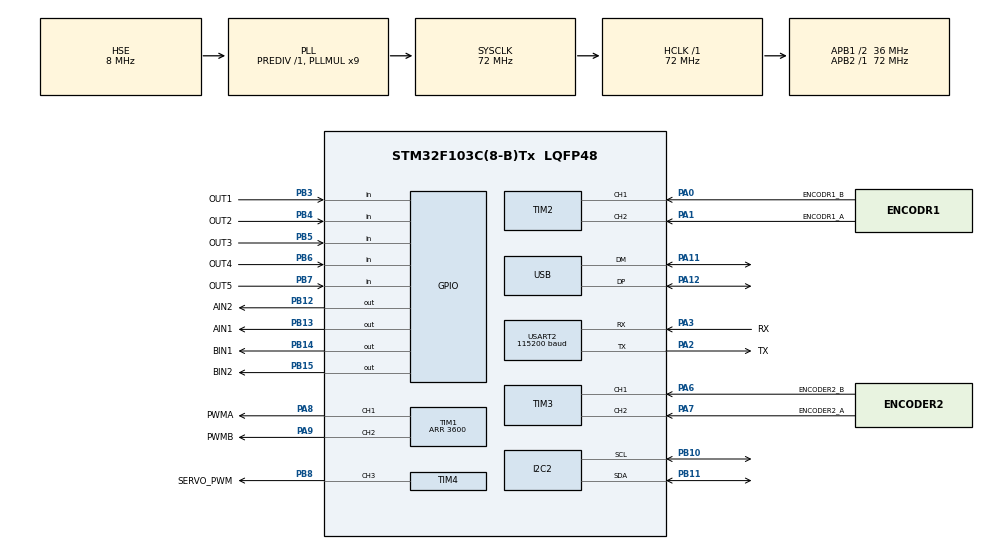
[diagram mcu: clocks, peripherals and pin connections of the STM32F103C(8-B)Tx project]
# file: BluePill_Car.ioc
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Dma.I2C2_RX.0.Direction=DMA_PERIPH_TO_MEMORY
Dma.I2C2_RX.0.Instance=DMA1_Channel5
Dma.I2C2_RX.0.MemDataAlignment=DMA_MDATAALIGN_BYTE
Dma.I2C2_RX.0.MemInc=DMA_MINC_ENABLE
Dma.I2C2_RX.0.Mode=DMA_NORMAL
Dma.I2C2_RX.0.PeriphDataAlignment=DMA_PDATAALIGN_BYTE
Dma.I2C2_RX.0.PeriphInc=DMA_PINC_DISABLE
Dma.I2C2_RX.0.Priority=DMA_PRIORITY_LOW
Dma.Request0=I2C2_RX
I2C2.I2C_Mode=I2C_Standard
Mcu.Family=STM32F1
Mcu.Name=STM32F103C(8-B)Tx
Mcu.Package=LQFP48
NVIC.DMA1_Channel5_IRQn=true\:0\:0\:false\:false\:true\:false\:true\:true
NVIC.I2C2_EV_IRQn=true\:0\:0\:false\:false\:true\:true\:true\:true
NVIC.PriorityGroup=NVIC_PRIORITYGROUP_4
NVIC.TIM1_CC_IRQn=true\:0\:0\:false\:false\:true\:true\:true\:true
NVIC.TIM1_UP_IRQn=true\:0\:0\:false\:false\:true\:true\:true\:true
NVIC.USART2_IRQn=true\:0\:0\:false\:false\:true\:true\:true\:true
NVIC.USB_LP_CAN1_RX0_IRQn=true\:0\:0\:false\:false\:true\:false\:true\:true
PA0-WKUP.GPIO_Label=ENCODR1_B
PA0-WKUP.Signal=S_TIM2_CH1_ETR
PA1.GPIO_Label=ENCODR1_A
PA1.Signal=S_TIM2_CH2
PA11.Mode=Device
PA11.Signal=USB_DM
PA12.Mode=Device
PA12.Signal=USB_DP
PA13.Mode=Serial_Wire
PA13.Signal=SYS_JTMS-SWDIO
PA14.Mode=Serial_Wire
PA14.Signal=SYS_JTCK-SWCLK
PA2.GPIO_Label=TX
PA2.Mode=Asynchronous
PA2.Signal=USART2_TX
PA3.GPIO_Label=RX
PA3.Mode=Asynchronous
PA3.Signal=USART2_RX
PA6.GPIO_Label=ENCODER2_B
PA6.Signal=S_TIM3_CH1
PA7.GPIO_Label=ENCODER2_A
PA7.Signal=S_TIM3_CH2
PA8.GPIO_Label=PWMA
PA8.Signal=S_TIM1_CH1
PA9.GPIO_Label=PWMB
PA9.Signal=S_TIM1_CH2
PB10.Mode=I2C
PB10.Signal=I2C2_SCL
PB11.Mode=I2C
PB11.Signal=I2C2_SDA
PB12.GPIO_Label=AIN2
PB12.Signal=GPIO_Output
PB13.GPIO_Label=AIN1
PB13.Signal=GPIO_Output
PB14.GPIO_Label=BIN1
PB14.Signal=GPIO_Output
PB15.GPIO_Label=BIN2
PB15.Signal=GPIO_Output
PB3.GPIO_Label=OUT1
PB3.Signal=GPIO_Input
PB4.GPIO_Label=OUT2
PB4.Signal=GPIO_Input
PB5.GPIO_Label=OUT3
PB5.Signal=GPIO_Input
PB6.GPIO_Label=OUT4
PB6.Signal=GPIO_Input
PB7.GPIO_Label=OUT5
PB7.Signal=GPIO_Input
PB8.GPIO_Label=SERVO_PWM
PB8.Signal=S_TIM4_CH3
PC14-OSC32_IN.Mode=LSE-External-Oscillator
PC14-OSC32_IN.Signal=RCC_OSC32_IN
PC15-OSC32_OUT.Mode=LSE-External-Oscillator
PC15-OSC32_OUT.Signal=RCC_OSC32_OUT
PD0-OSC_IN.Mode=HSE-External-Oscillator
PD0-OSC_IN.Signal=RCC_OSC_IN
PD1-OSC_OUT.Mode=HSE-External-Oscillator
PD1-OSC_OUT.Signal=RCC_OSC_OUT
ProjectManager.HeapSize=0x200
ProjectManager.StackSize=0x400
ProjectManager.TargetToolchain=CMake
RCC.AHBFreq_Value=72000000
RCC.APB1CLKDivider=RCC_HCLK_DIV2
RCC.APB1Freq_Value=36000000
RCC.APB1TimFreq_Value=72000000
RCC.APB2Freq_Value=72000000
RCC.APB2TimFreq_Value=72000000
RCC.HCLKFreq_Value=72000000
RCC.PLLMUL=RCC_PLL_MUL9
RCC.PLLSourceVirtual=RCC_PLLSOURCE_HSE
RCC.SYSCLKFreq_VALUE=72000000
RCC.SYSCLKSource=RCC_SYSCLKSOURCE_PLLCLK
RCC.USBFreq_Value=48000000
RCC.USBPrescaler=RCC_USBCLKSOURCE_PLL_DIV1_5
SH.S_TIM1_CH1.0=TIM1_CH1,PWM Generation1 CH1
SH.S_TIM1_CH2.0=TIM1_CH2,PWM Generation2 CH2
SH.S_TIM2_CH1_ETR.0=TIM2_CH1,Encoder_Interface
SH.S_TIM2_CH2.0=TIM2_CH2,Encoder_Interface
SH.S_TIM3_CH1.0=TIM3_CH1,Encoder_Interface
SH.S_TIM3_CH2.0=TIM3_CH2,Encoder_Interface
SH.S_TIM4_CH3.0=TIM4_CH3,PWM Generation3 CH3
TIM1.AutoReloadPreload=TIM_AUTORELOAD_PRELOAD_ENABLE
TIM1.Channel-PWM\ Generation1\ CH1=TIM_CHANNEL_1
TIM1.Channel-PWM\ Generation2\ CH2=TIM_CHANNEL_2
TIM1.Period=3600
TIM2.AutoReloadPreload=TIM_AUTORELOAD_PRELOAD_ENABLE
TIM2.EncoderMode=TIM_ENCODERMODE_TI12
TIM2.IC1Filter=15
TIM2.IC2Filter=15
TIM3.AutoReloadPreload=TIM_AUTORELOAD_PRELOAD_ENABLE
TIM3.EncoderMode=TIM_ENCODERMODE_TI12
TIM3.IC1Filter=15
TIM3.IC2Filter=15
TIM4.AutoReloadPreload=TIM_AUTORELOAD_PRELOAD_ENABLE
TIM4.Channel-PWM\ Generation3\ CH3=TIM_CHANNEL_3
TIM4.Period=19999
TIM4.Prescaler=71
USART2.BaudRate=115200
USART2.VirtualMode=VM_ASYNC
USB_DEVICE.CLASS_NAME_FS=CDC
USB_DEVICE.VirtualMode=Cdc
USB_DEVICE.VirtualModeFS=Cdc_FS
VP_TIM4_VS_ClockSourceINT.Mode=Internal
VP_USB_DEVICE_VS_USB_DEVICE_CDC_FS.Mode=CDC_FS
board=custom

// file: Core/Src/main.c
/* USER CODE BEGIN Header */
/**
  * @file           : main.c
  * @brief          : 装载层 — CubeMX init + 组装层装载 + 主循环时间喂入
  ******************************************************************************
  * [2026-09-20 组装层拆分] 本文件已瘦身为"装载器"：全部装配知识 (4 张桥配置表 /
  * io 绑定 / init 链) 收口到 Core/Src/app/app_wiring.c (唯一 include car_config.h
  * 的 app 模块)；命令链/控制/显示宿主分居 app_link/app_control/app_display。
  * 本文件保留：CubeMX 骨架、UART 硬件通道 bring-up (baud 重配/首挂/横幅)、
  * UART ISR 壳 (投递 app_link + 重挂)、主循环时间喂入。
  ******************************************************************************
  */
/* USER CODE END Header */
#include "main.h"
#include "dma.h"
#include "i2c.h"
#include "tim.h"
#include "usart.h"
#include "usb_device.h"
#include "gpio.h"

/* USER CODE BEGIN Includes */
#include "car_config.h"              /* 链路编译开关 (UART 通道 bring-up / ISR 门控用) */
#include "driver/uart.h"             /* uart_debug 句柄 (ISR 重挂经策略层) */
#include "driver/uart_platform_ops.h"
#include "app/app_wiring.h"          /* 装配入口 app_wiring_load() */
#include "app/app_link.h"            /* ISR 收包投递 */
#include "app/app_control.h"         /* WD 闩锁解除 */
#include "app/app_tx.h"              /* 发送流队列推进 (R3) */
#include "app/app_display.h"
#include "driver/line_follower.h"    /* 巡线自动启动仲裁 (脑干职责, 留装载层) */
#include "driver/imu_bridge.h"
/* USER CODE END Includes */

/* USER CODE BEGIN PD */
/* UART 通道 bring-up 门控 (真值源 = car_config.h; 其余链路开关随装配进 app_wiring) */
#define LINK_UART_ENABLED  CAR_FEATURE_UART
/* USER CODE END PD */

/* USER CODE BEGIN PV */
/* UART 硬件通道句柄 (ISR 重挂 + rx_byte 落脚点; 装配知识在 app_wiring) */
UART_Handle    uart_debug = {
    .huart      = &huart2,
    .ops        = &uart_platform_ops_stm32,
};
/* [R3] UART 接收硬件错误累计 (ORE/framing, PA3 悬空噪声; 中断上下文写, 饱和) */
volatile uint16_t g_uart_rx_err = 0;
/* USER CODE END PV */

void SystemClock_Config(void);

/* USER CODE BEGIN 0 */
/* UART ISR 壳 (装载层/HAL 通道职责): 投递 app_link + 经策略层重挂。
 * [P1-1] 重挂走 uart_receive_IT() → ops → HAL; UART=0 时经 stub 自然 no-op。
 * [app_link 拆分] 收包只投递不解析 (ISR 铁律)。 */
void HAL_UART_RxCpltCallback(UART_HandleTypeDef *hal_huart)
{
    if (hal_huart->Instance != USART2) return;
#if LINK_UART_ENABLED
    app_link_uart_rx_isr(uart_debug.rx_byte);
#endif
    (void)uart_receive_IT(&uart_debug, &uart_debug.rx_byte);
}

/* [R3 发送路径专项 3a] UART 硬件错误重挂 (PA3 悬空/噪声 → ORE/framing 会中止接收,
 * 此前无 ErrorCallback → 静默停摆)。重挂中断接收 + 计数（诊断用, 饱和）。
 * 中断上下文只计数不解析（ISR 铁律）。 */
void HAL_UART_ErrorCallback(UART_HandleTypeDef *hal_huart)
{
    if (hal_huart->Instance != USART2) return;
#if LINK_UART_ENABLED
    if (g_uart_rx_err < 0xFFFFu) g_uart_rx_err++;
    (void)uart_receive_IT(&uart_debug, &uart_debug.rx_byte);   /* 重挂续收 */
#endif
}
/* USER CODE END 0 */

int main(void)
{

  /* MCU Configuration--------------------------------------------------------*/

  /* Reset of all peripherals, Initializes the Flash interface and the Systick. */
  HAL_Init();

  /* Configure the system clock */
  SystemClock_Config();

  /* USER CODE BEGIN SysInit */
  /* [免拔插 USB 重枚举 — 试验结论 2026-09-19 ❌ 本板无效，已回退]
   * 固件侧无法制造断开事件 (详调试总结 §27)；对策 = flash_flow.py 流程自动化。 */

  /* USER CODE END SysInit */

  /* Initialize all configured peripherals */
  MX_GPIO_Init();
  MX_DMA_Init();
  MX_TIM1_Init();
  MX_TIM2_Init();
  MX_TIM3_Init();
  MX_USART2_UART_Init();
  MX_TIM4_Init();
  MX_I2C2_Init();
  MX_USB_DEVICE_Init();
  /* USER CODE BEGIN 2 */
#ifdef USB_ECHO_TEST
    /* ---- USB 独立链路测试模式 (临时): 不 init 任何车功能, 收发全在 CDC_Receive_FS。
     * 回显模式不注册收包 sink → app 链路不参与 (usbd_cdc_if.c 未注册即丢弃)。 */
    for (;;) { HAL_Delay(1); }
#endif
    /* ---- UART 硬件通道 bring-up (装载层/HAL 通道职责) ----
     * PA2/PA3 接 BT04, 9600 覆盖 CubeMX 默认 115200;
     * [P3] CAR_FEATURE_UART=0 → 不重配/不首挂/不发横幅 (通道整体不存在) */
#if LINK_UART_ENABLED
    huart2.Init.BaudRate = 9600;
    if (HAL_UART_Init(&huart2) != HAL_OK) Error_Handler();
    /* 首挂中断接收 (经策略层, P1-1) + 开机横幅 */
    (void)uart_receive_IT(&uart_debug, &uart_debug.rx_byte);
    (void)uart_send(&uart_debug, (const uint8_t *)"UART2 Ready\r\n", 13);
#endif

    /* ---- 装配: 配置表 + io 绑定 + 全部组件/桥/app init (唯一装配点) ----
     * 任一失败 → Error_Handler 停机 ("init 失败即停", 真机已验 2026-09-20 §22);
     * 失败定位可用 app_wiring_failed_module() 查看 */
    if (app_wiring_load() != BRIDGE_OK)
        Error_Handler();
  /* USER CODE END 2 */

  /* Infinite loop */
  /* USER CODE BEGIN WHILE */
  /* 装载层主循环: 只喂时间, 不含任何业务 (业务节拍门内聚在各 app 模块) */
  while (1)
  {
    /* USER CODE END WHILE */

    /* USER CODE BEGIN 3 */
        uint32_t now = HAL_GetTick();

        /* ① 命令链 (app_link): 双 ringbuf 消费/门控/命令执行 */
        app_link_task(now);

        /* ②+③b 控制节拍 (app_control): 判活/WD/闭环搬运/感知 (50ms 门内聚) */
        app_control_task(now);

        /* ②' 发送流推进 (app_tx, R3): 每轮摊销推进 UART IT / USB 段队列 (非阻塞自限速) */
        app_tx_service();

        /* ③ 显示节拍 (app_display): 8 页轮转 (100ms 门内聚) */
        app_display_task(now);

        /* 仲裁: IMU 校准完成自动启动巡线 (接管权仲裁 = 脑干职责, 留装载层) */
        static uint32_t t_auto = 0;
        if (now - t_auto >= CAR_DISP_PERIOD_MS) {
            t_auto = now;
            uint8_t prog = imu_bridge_cal_progress(0);
            line_follower_try_auto_start(prog >= 100, now);
        }
  /* USER CODE END 3 */
  }
}

void SystemClock_Config(void)
{
  RCC_OscInitTypeDef RCC_OscInitStruct = {0};
  RCC_ClkInitTypeDef RCC_ClkInitStruct = {0};
  RCC_PeriphCLKInitTypeDef PeriphClkInit = {0};

  /** Initializes the RCC Oscillators according to the specified parameters
  * in the RCC_OscInitTypeDef structure.
  */
  RCC_OscInitStruct.OscillatorType = RCC_OSCILLATORTYPE_HSE;
  RCC_OscInitStruct.HSEState = RCC_HSE_ON;
  RCC_OscInitStruct.HSEPredivValue = RCC_HSE_PREDIV_DIV1;
  RCC_OscInitStruct.HSIState = RCC_HSI_ON;
  RCC_OscInitStruct.PLL.PLLState = RCC_PLL_ON;
  RCC_OscInitStruct.PLL.PLLSource = RCC_PLLSOURCE_HSE;
  RCC_OscInitStruct.PLL.PLLMUL = RCC_PLL_MUL9;
  if (HAL_RCC_OscConfig(&RCC_OscInitStruct) != HAL_OK)
  {
    Error_Handler();
  }

  /** Initializes the CPU, AHB and APB buses clocks
  */
  RCC_ClkInitStruct.ClockType = RCC_CLOCKTYPE_HCLK|RCC_CLOCKTYPE_SYSCLK
                              |RCC_CLOCKTYPE_PCLK1|RCC_CLOCKTYPE_PCLK2;
  RCC_ClkInitStruct.SYSCLKSource = RCC_SYSCLKSOURCE_PLLCLK;
  RCC_ClkInitStruct.AHBCLKDivider = RCC_SYSCLK_DIV1;
  RCC_ClkInitStruct.APB1CLKDivider = RCC_HCLK_DIV2;
  RCC_ClkInitStruct.APB2CLKDivider = RCC_HCLK_DIV1;

  if (HAL_RCC_ClockConfig(&RCC_ClkInitStruct, FLASH_LATENCY_2) != HAL_OK)
  {
    Error_Handler();
  }
  PeriphClkInit.PeriphClockSelection = RCC_PERIPHCLK_USB;
  PeriphClkInit.UsbClockSelection = RCC_USBCLKSOURCE_PLL_DIV1_5;
  if (HAL_RCCEx_PeriphCLKConfig(&PeriphClkInit) != HAL_OK)
  {
    Error_Handler();
  }
}

void Error_Handler(void)
{
  /* USER CODE BEGIN Error_Handler_Debug */
  /* User can add his own implementation to report the HAL error return state */
  __disable_irq();
  while (1)
  {
    /* init 失败定位: app_wiring_failed_module() (SWD 调试器可读 s_failed 静态) */
  }
  /* USER CODE END Error_Handler_Debug */
}
